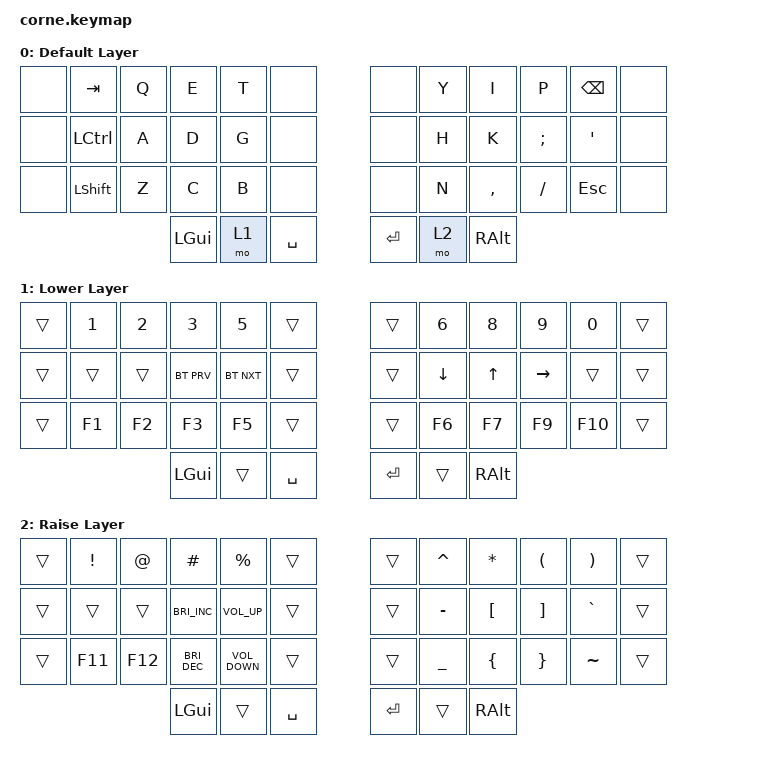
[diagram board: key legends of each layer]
/*
 * Copyright (c) 2020 The ZMK Contributors
 *
 * SPDX-License-Identifier: MIT
 */

#include <behaviors.dtsi>
#include <dt-bindings/zmk/bt.h>
#include <dt-bindings/zmk/keys.h>

/ {
    combos {
        compatible = "zmk,combos";

                num4 {
            bindings = <&kp NUMBER_4>;
            key-positions = <4 3 37>;
        };

        f4 {
            bindings = <&kp F4>;
            key-positions = <28 27 37>;
        };

        clear_bt_profile {
            bindings = <&bt BT_CLR>;
            key-positions = <16 15 37>;
        };

        num7 {
            bindings = <&kp N7>;
            key-positions = <7 8 37>;
        };

        f7 {
            bindings = <&kp F7>;
            key-positions = <31 32 37>;
        };

        arrow_left {
            bindings = <&kp LEFT>;
            key-positions = <19 20 37>;
        };

        dllr {
            bindings = <&kp DLLR>;
            key-positions = <40 4 3>;
        };

        amps {
            bindings = <&kp AMPS>;
            key-positions = <7 8 40>;
        };

        equals {
            bindings = <&kp EQUAL>;
            key-positions = <19 20 40>;
        };

        plus {
            bindings = <&kp PLUS>;
            key-positions = <31 32 40>;
        };

        backslash {
            bindings = <&kp BACKSLASH>;
            key-positions = <22 21 40>;
        };

        pipe {
            bindings = <&kp PIPE>;
            key-positions = <34 33 40>;
        };

        tog_special_layer {
            bindings = <&mo 0>;
            key-positions = <37 40>;
        };

        w {
            bindings = <&kp W>;
            key-positions = <2 3>;
        };

        s {
            bindings = <&kp S>;
            key-positions = <14 15>;
        };

        x {
            bindings = <&kp X>;
            key-positions = <26 27>;
        };

        r {
            bindings = <&kp R>;
            key-positions = <4 3>;
        };

        f {
            bindings = <&kp F>;
            key-positions = <16 15>;
        };

        v {
            bindings = <&kp V>;
            key-positions = <27 28>;
        };

        u {
            bindings = <&kp U>;
            key-positions = <7 8>;
        };

        j {
            bindings = <&kp J>;
            key-positions = <19 20>;
        };

        m {
            bindings = <&kp M>;
            key-positions = <31 32>;
        };

        o {
            bindings = <&kp O>;
            key-positions = <9 8>;
        };

        l {
            bindings = <&kp L>;
            key-positions = <21 20>;
        };

        dot {
            bindings = <&kp DOT>;
            key-positions = <33 32>;
        };
    };

    keymap {
        compatible = "zmk,keymap";

        default_layer {
            display-name = "Default Layer";

            // -----------------------------------------------------------------------------------------
            // |  TAB |  Q  |  W  |  E  |  R  |  T  |   |  Y  |  U   |  I  |  O  |  P  | BSPC |
            // | CTRL |  A  |  S  |  D  |  F  |  G  |   |  H  |  J   |  K  |  L  |  ;  |  '   |
            // | SHFT |  Z  |  X  |  C  |  V  |  B  |   |  N  |  M   |  ,  |  .  |  /  | ESC  |
            //                    | GUI | LWR | SPC |   | ENT | RSE  | ALT |

            bindings = <
&none  &kp TAB         &kp Q  &kp E     &kp T  &none        &none    &kp Y  &kp I      &kp P          &kp BACKSPACE     &none
&none  &kp LCTRL       &kp A  &kp D     &kp G  &none        &none    &kp H  &kp K      &kp SEMICOLON  &kp SINGLE_QUOTE  &none
&none  &kp LEFT_SHIFT  &kp Z  &kp C     &kp B  &none        &none    &kp N  &kp COMMA  &kp SLASH      &kp ESCAPE        &none
                              &kp LGUI  &mo 1  &kp SPACE    &kp RET  &mo 2  &kp RALT
            >;
        };

        lower_layer {
            display-name = "Lower Layer";

            // -----------------------------------------------------------------------------------------
            // |  TAB |  1  |  2  |  3  |  4  |  5  |   |  6  |  7  |  8  |  9  |  0  | BSPC |
            // | BTCLR| BT1 | BT2 | BT3 | BT4 | BT5 |   | LFT | DWN |  UP | RGT |     |      |
            // | SHFT |     |     |     |     |     |   |     |     |     |     |     |      |
            //                    | GUI |     | SPC |   | ENT |     | ALT |

            bindings = <
&trans  &kp N1  &kp N2  &kp N3      &kp N5      &trans       &trans   &kp NUMBER_6  &kp N8    &kp N9     &kp N0   &trans
&trans  &trans  &trans  &bt BT_PRV  &bt BT_NXT  &trans       &trans   &kp DOWN      &kp UP    &kp RIGHT  &trans   &trans
&trans  &kp F1  &kp F2  &kp F3      &kp F5      &trans       &trans   &kp F6        &kp F7    &kp F9     &kp F10  &trans
                        &kp LGUI    &trans      &kp SPACE    &kp RET  &trans        &kp RALT
            >;
        };

        raise_layer {
            display-name = "Raise Layer";

            // -----------------------------------------------------------------------------------------
            // |  TAB |  !  |  @  |  #  |  $  |  %  |   |  ^  |  &  |  *  |  (  |  )  | BSPC |
            // | CTRL |     |     |     |     |     |   |  -  |  =  |  [  |  ]  |  \  |  `   |
            // | SHFT |     |     |     |     |     |   |  _  |  +  |  {  |  }  | "|" |  ~   |
            //                    | GUI |     | SPC |   | ENT |     | ALT |

            bindings = <
&trans  &kp EXCL  &kp AT   &kp HASH              &kp PERCENT        &trans       &trans   &kp CARET  &kp ASTRK  &kp LPAR  &kp RPAR   &trans
&trans  &trans    &trans   &kp C_BRIGHTNESS_INC  &kp C_VOLUME_UP    &trans       &trans   &kp MINUS  &kp LBKT   &kp RBKT  &kp GRAVE  &trans
&trans  &kp F11   &kp F12  &kp C_BRI_DEC         &kp C_VOLUME_DOWN  &trans       &trans   &kp UNDER  &kp LBRC   &kp RBRC  &kp TILDE  &trans
                           &kp LGUI              &trans             &kp SPACE    &kp RET  &trans     &kp RALT
            >;
        };
    };
};
